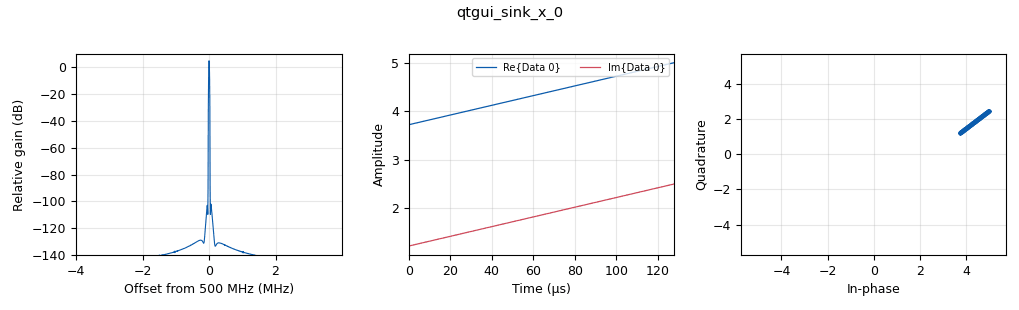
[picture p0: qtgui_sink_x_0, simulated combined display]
options:
  parameters:
    author: virgil
    generate_options: qt_gui
    id: Demo2
    max_nouts: '8000000'
    output_language: python
    title: JammerCorrupt
  states: {}

blocks:
- name: noise
  id: variable_qtgui_range
  parameters:
    label: Noise Amplitude
    orient: Qt.Horizontal
    start: '0'
    step: '0.001'
    stop: '50'
    value: '1'
  states: {}
- name: samp_rate
  id: variable
  parameters:
    value: 8e6
  states: {}
- name: analog_noise_source_x_0
  id: analog_noise_source_x
  parameters:
    amp: noise
    noise_type: analog.GR_GAUSSIAN
    seed: '0'
    type: complex
  states: {state: disabled}
- name: analog_noise_source_x_0_0
  id: analog_noise_source_x
  parameters:
    amp: noise
    noise_type: analog.GR_GAUSSIAN
    seed: '0'
    type: complex
  states: {state: disabled}
- name: analog_sig_source_x_0
  id: analog_sig_source_x
  parameters:
    amp: '10'
    freq: '1000'
    offset: '0'
    phase: '0'
    samp_rate: samp_rate
    type: complex
    waveform: analog.GR_SAW_WAVE
  states: {}
- name: analog_sig_source_x_0_0
  id: analog_sig_source_x
  parameters:
    amp: '10'
    freq: '1000'
    offset: '0'
    phase: '0'
    samp_rate: samp_rate
    type: complex
    waveform: analog.GR_SAW_WAVE
  states: {state: disabled}
- name: analog_sig_source_x_0_0_0
  id: analog_sig_source_x
  parameters:
    amp: '10'
    freq: '1000'
    offset: '0'
    phase: '0'
    samp_rate: samp_rate
    type: complex
    waveform: analog.GR_TRI_WAVE
  states: {state: disabled}
- name: analog_sig_source_x_0_0_1
  id: analog_sig_source_x
  parameters:
    amp: '1'
    freq: '1000'
    offset: '0'
    phase: '0'
    samp_rate: samp_rate
    type: complex
    waveform: analog.GR_COS_WAVE
  states: {}
- name: blocks_add_xx_0
  id: blocks_add_xx
  parameters:
    type: complex
  states: {state: disabled}
- name: blocks_multiply_xx_0
  id: blocks_multiply_xx
  parameters:
    type: complex
  states: {state: disabled}
- name: iio_pluto_sink_0
  id: iio_pluto_sink
  parameters:
    attenuation1: '5.0'
    auto_filter: 'True'
    bandwidth: '1000000'
    buffer_size: '32768'
    cyclic: 'False'
    frequency: '500000000'
    samplerate: int(samp_rate)
    uri: ip:192.168.2.1
  states: {}
- name: osmosdr_sink_0
  id: osmosdr_sink
  parameters:
    args: '"bladerf=0"'
    bb_gain0: '20'
    bw0: 8e6
    freq0: 500e6
    gain0: '30'
    if_gain0: '30'
    sample_rate: samp_rate
    sync: sync
    type: fc32
  states: {}
- name: qtgui_sink_x_0
  id: qtgui_sink_x
  parameters:
    bw: 8e6
    fc: 500e6
    fftsize: '1024'
    showrf: 'True'
    type: complex
    wintype: firdes.WIN_BLACKMAN_hARRIS
  states: {}

connections:
- [analog_noise_source_x_0, '0', blocks_multiply_xx_0, '1']
- [analog_noise_source_x_0_0, '0', blocks_add_xx_0, '1']
- [analog_sig_source_x_0, '0', osmosdr_sink_0, '0']
- [analog_sig_source_x_0, '0', qtgui_sink_x_0, '0']
- [analog_sig_source_x_0_0, '0', blocks_multiply_xx_0, '0']
- [analog_sig_source_x_0_0_0, '0', blocks_add_xx_0, '0']
- [analog_sig_source_x_0_0_1, '0', iio_pluto_sink_0, '0']
- [blocks_add_xx_0, '0', osmosdr_sink_0, '0']
- [blocks_add_xx_0, '0', qtgui_sink_x_0, '0']
- [blocks_multiply_xx_0, '0', osmosdr_sink_0, '0']
- [blocks_multiply_xx_0, '0', qtgui_sink_x_0, '0']

metadata:
  file_format: 1
